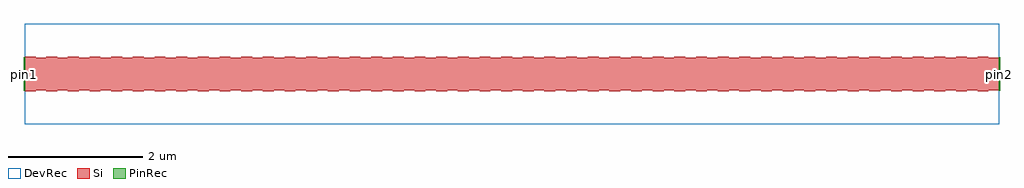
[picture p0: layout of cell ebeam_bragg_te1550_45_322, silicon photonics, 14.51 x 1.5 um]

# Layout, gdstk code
import gdstk
lib = gdstk.Library(unit=1e-6, precision=1e-09)
def R(c, l, rs):  # rectangles x0, y0, x1, y1
    for r in rs: c.add(gdstk.rectangle(r[:2], r[2:], *l))
def A(c, l, x, y, w, h, nx, ny, dx, dy):  # array of equal rectangles
    R(c, l, [(x+i*dx, y+j*dy, x+i*dx+w, y+j*dy+h) for i in range(nx) for j in range(ny)])
Si = (1, 0)
PinRec = (1, 10)
DevRec = (68, 0)

ebeam_bragg_te1550_45_32 = lib.new_cell('ebeam_bragg_te1550_45_322')
A(ebeam_bragg_te1550_45_32, Si, 0, -0.26, 0.161, 0.26, 45, 2, 0.322, 0.26)
A(ebeam_bragg_te1550_45_32, Si, 0.161, -0.24, 0.161, 0.24, 45, 2, 0.322, 0.24)
R(ebeam_bragg_te1550_45_32, DevRec, [(0,-0.75,14.49,0.75)])
ebeam_bragg_te1550_45_32.add(gdstk.FlexPath([(0.01,0),(-0.01,0)], 0.5, ends="flush", simple_path=True, layer=1, datatype=10))  # PinRec
ebeam_bragg_te1550_45_32.add(gdstk.FlexPath([(14.48,0),(14.5,0)], 0.5, ends="flush", simple_path=True, layer=1, datatype=10))  # PinRec
ebeam_bragg_te1550_45_32.add(gdstk.Label('pin1', (0,0), layer=1, texttype=10))
ebeam_bragg_te1550_45_32.add(gdstk.Label('pin2', (14.49,0), layer=1, texttype=10))
ebeam_bragg_te1550_45_32.add(gdstk.Label('Lumerical_INTERCONNECT_library=Design kits/ebeam', (0,0), layer=68, texttype=0))
ebeam_bragg_te1550_45_32.add(gdstk.Label('Component=ebeam_bragg_te1550', (1.449,0), layer=68, texttype=0))
ebeam_bragg_te1550_45_32.add(gdstk.Label('Spice_param:number_of_periods=45 grating_period=3.22e-07 corrugation_width=2e-08 misalignment=0 sinusoidal=0', (1.61,0), layer=68, texttype=0))

lib.write_gds('ebeam_bragg_te1550_45_322.gds')
